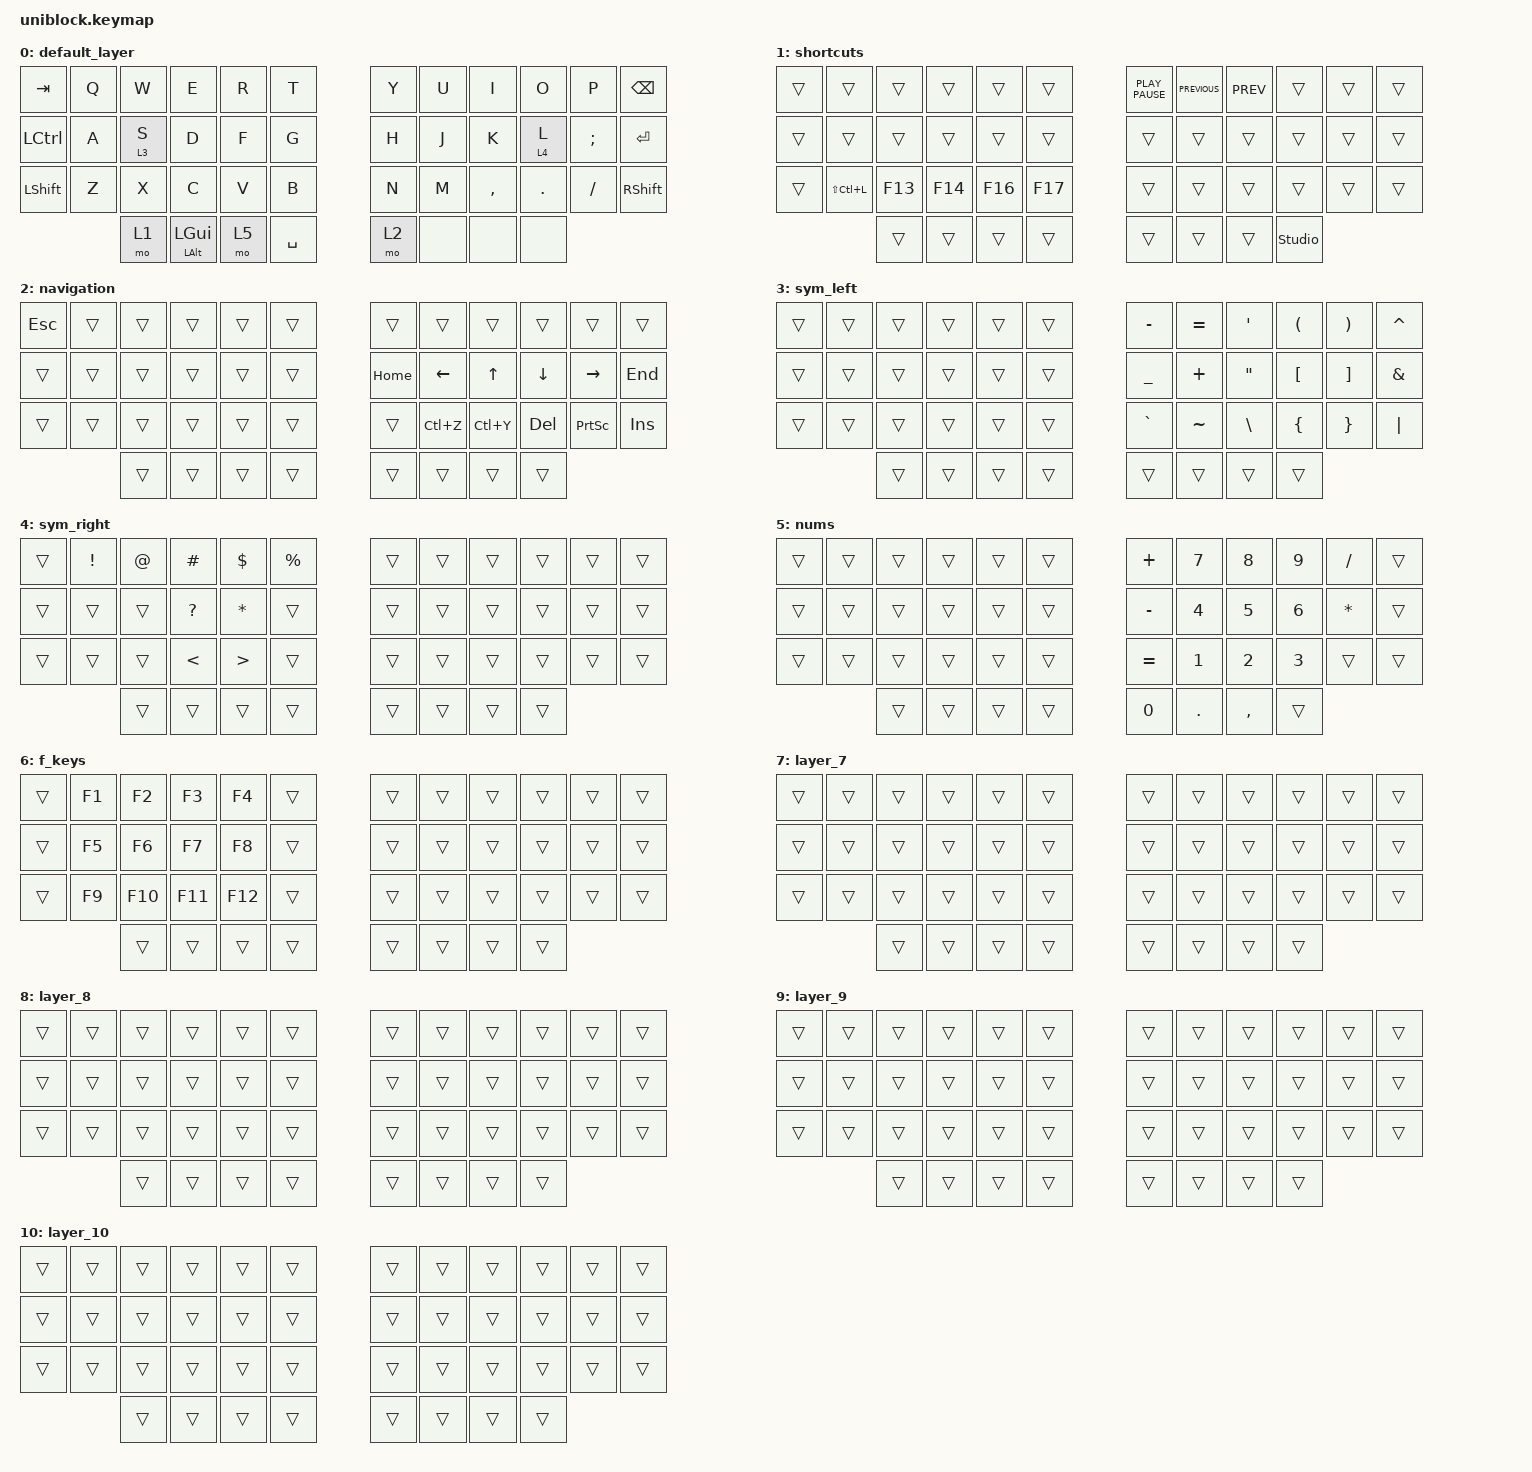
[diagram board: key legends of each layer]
#include <behaviors.dtsi>
#include <dt-bindings/zmk/keys.h>
#include <dt-bindings/zmk/bt.h>

/ {
    keymap {
        compatible = "zmk,keymap";

        default_layer {
            // ------------------------------------------------------------------------------------------------------------
            // |  TAB  |  Q  |  W  |  E   |  R   |  T   |                   |  Y   |  U    |  I    |  O   |   P   |   -   |
            // |  CTRL |  A  |  S  |  D   |  F   |  G   |                   |  H   |  J    |  K    |  L   |   ;   |   '   |
            // | SHIFT |  Z  |  X  |  C   |  V   |  B   |                   |  N   |  M    |  ,    |  .   |   /   | SHIFT |
            //                     | ALT  | GUI  | LOWER|  SPACE |  | ENTER | RAISE| BSPC  | GUI   |

            bindings = <
&kp TAB  &kp Q  &kp W  &kp E  &kp R  &kp T  &kp Y  &kp U  &kp I  &kp O  &kp P  &kp BACKSPACE  
&kp LCTRL  &kp A  &lt 3 S  &kp D  &kp F  &kp G  &kp H  &kp J  &kp K  &lt 4 L  &kp SEMI  &kp RETURN  
&kp LSHFT  &kp Z  &kp X  &kp C  &kp V  &kp B  &kp N  &kp M  &kp COMMA  &kp DOT  &kp FSLH  &kp RSHFT  
&mo 1  &mt LEFT_ALT LEFT_GUI  &mo 5  &kp SPACE  &mo 2  &none  &none  &none
            >;
        };

        shortcuts {
            bindings = <
&trans  &trans  &trans  &trans  &trans  &trans  &kp K_PLAY_PAUSE  &kp K_PREVIOUS  &kp K_PREV  &trans  &trans  &trans  
&trans  &trans  &trans  &trans  &trans  &trans  &trans  &trans  &trans  &trans  &trans  &trans  
&trans  &kp LS(LC(L))  &kp F13  &kp F14  &kp F16  &kp F17  &trans  &trans  &trans  &trans  &trans  &trans  
&trans  &trans  &trans  &trans  &trans  &trans  &trans   &studio_unlock
            >;
        };

        navigation {
            bindings = <
&kp ESC  &trans  &trans  &trans  &trans  &trans  &trans  &trans  &trans  &trans  &trans  &trans  &trans  &trans  &trans  &trans  &trans  &trans  &kp HOME  &kp LEFT  &kp UP  &kp DOWN  &kp RIGHT  &kp END  &trans  &trans  &trans  &trans  &trans  &trans  &trans  &kp LC(Z)  &kp LC(Y)  &kp DEL  &kp PRINTSCREEN  &kp INSERT  &trans  &trans  &trans  &trans  &trans  &trans  &trans  &trans
            >;
        };

        sym_left {
            bindings = <
&trans  &trans  &trans  &trans  &trans  &trans  &kp MINUS  &kp EQUAL  &kp SQT  &kp LEFT_PARENTHESIS  &kp RIGHT_PARENTHESIS  &kp CARET  &trans  &trans  &trans  &trans  &trans  &trans  &kp UNDER  &kp PLUS  &kp DOUBLE_QUOTES  &kp LEFT_BRACKET  &kp RIGHT_BRACKET  &kp AMPERSAND  &trans  &trans  &trans  &trans  &trans  &trans  &kp GRAVE  &kp TILDE  &kp BACKSLASH  &kp LEFT_BRACE  &kp RIGHT_BRACE  &kp PIPE  &trans  &trans  &trans  &trans  &trans  &trans  &trans  &trans
            >;
        };

        sym_right {
            bindings = <
&trans  &kp EXCLAMATION  &kp AT  &kp HASH  &kp DOLLAR  &kp PERCENT  &trans  &trans  &trans  &trans  &trans  &trans  &trans  &trans  &trans  &kp QUESTION  &kp ASTERISK  &trans  &trans  &trans  &trans  &trans  &trans  &trans  &trans  &trans  &trans  &kp LESS_THAN  &kp GREATER_THAN  &trans  &trans  &trans  &trans  &trans  &trans  &trans  &trans  &trans  &trans  &trans  &trans  &trans  &trans  &trans
            >;
        };

        nums {
            bindings = <
&trans  &trans  &trans  &trans  &trans  &trans  &kp PLUS  &kp N7  &kp N8  &kp N9  &kp SLASH  &trans  &trans  &trans  &trans  &trans  &trans  &trans  &kp MINUS  &kp N4  &kp N5  &kp N6  &kp ASTRK  &trans  &trans  &trans  &trans  &trans  &trans  &trans  &kp EQUAL  &kp N1  &kp N2  &kp N3  &trans  &trans  &trans  &trans  &trans  &trans  &kp N0  &kp DOT  &kp COMMA  &trans
            >;
        };

        f_keys {
            bindings = <
&trans  &kp F1  &kp F2  &kp F3  &kp F4  &trans  &trans  &trans  &trans  &trans  &trans  &trans  &trans  &kp F5  &kp F6  &kp F7  &kp F8  &trans  &trans  &trans  &trans  &trans  &trans  &trans  &trans  &kp F9  &kp F10  &kp F11  &kp F12  &trans  &trans  &trans  &trans  &trans  &trans  &trans  &trans  &trans  &trans  &trans  &trans  &trans  &trans  &trans
            >;
        };

        layer_7 {
            bindings = <
&trans  &trans  &trans  &trans  &trans  &trans  &trans  &trans  &trans  &trans  &trans  &trans  &trans  &trans  &trans  &trans  &trans  &trans  &trans  &trans  &trans  &trans  &trans  &trans  &trans  &trans  &trans  &trans  &trans  &trans  &trans  &trans  &trans  &trans  &trans  &trans  &trans  &trans  &trans  &trans  &trans  &trans  &trans  &trans
            >;
        };

        layer_8 {
            bindings = <
&trans  &trans  &trans  &trans  &trans  &trans  &trans  &trans  &trans  &trans  &trans  &trans  &trans  &trans  &trans  &trans  &trans  &trans  &trans  &trans  &trans  &trans  &trans  &trans  &trans  &trans  &trans  &trans  &trans  &trans  &trans  &trans  &trans  &trans  &trans  &trans  &trans  &trans  &trans  &trans  &trans  &trans  &trans  &trans
            >;
        };

        layer_9 {
            bindings = <
&trans  &trans  &trans  &trans  &trans  &trans  &trans  &trans  &trans  &trans  &trans  &trans  &trans  &trans  &trans  &trans  &trans  &trans  &trans  &trans  &trans  &trans  &trans  &trans  &trans  &trans  &trans  &trans  &trans  &trans  &trans  &trans  &trans  &trans  &trans  &trans  &trans  &trans  &trans  &trans  &trans  &trans  &trans  &trans
            >;
        };

        layer_10 {
            bindings = <
&trans  &trans  &trans  &trans  &trans  &trans  &trans  &trans  &trans  &trans  &trans  &trans  &trans  &trans  &trans  &trans  &trans  &trans  &trans  &trans  &trans  &trans  &trans  &trans  &trans  &trans  &trans  &trans  &trans  &trans  &trans  &trans  &trans  &trans  &trans  &trans  &trans  &trans  &trans  &trans  &trans  &trans  &trans  &trans
            >;
        };
    };
};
